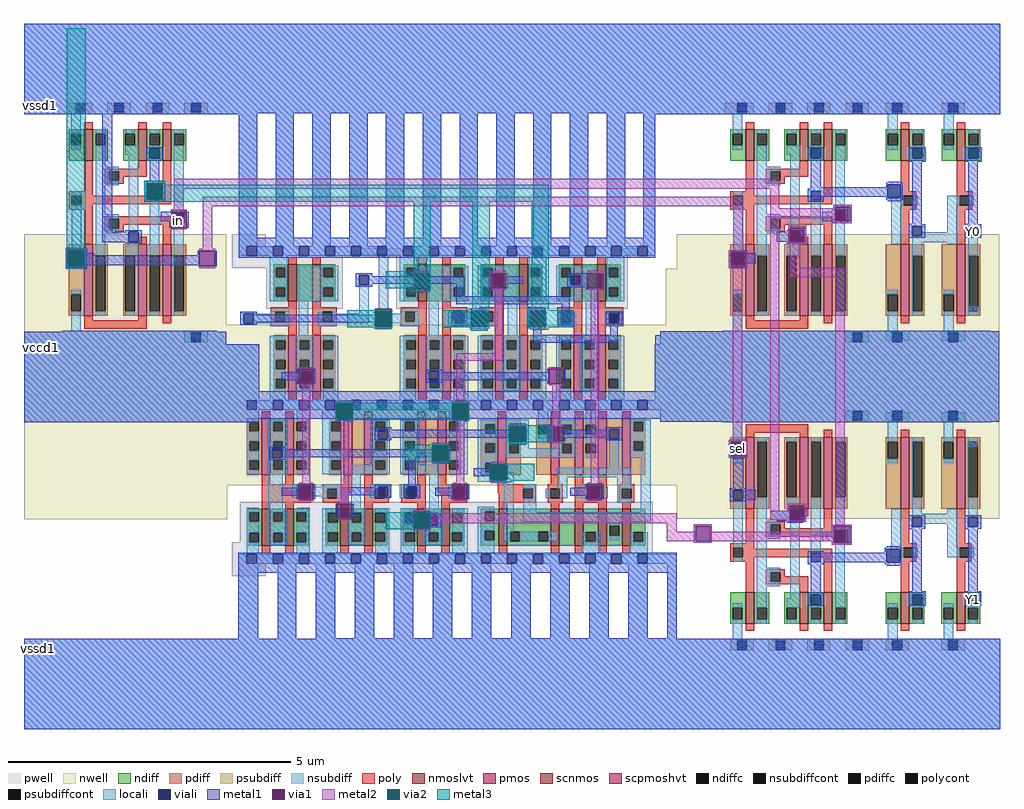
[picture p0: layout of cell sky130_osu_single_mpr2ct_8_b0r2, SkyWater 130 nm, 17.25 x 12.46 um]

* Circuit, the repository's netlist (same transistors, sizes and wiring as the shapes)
* NGSPICE file created from sky130_osu_single_mpr2ct_8_b0r2.ext - technology: sky130A

.subckt sky130_osu_sc_12T_hs__mux2_1 S0 Y A0 A1 vccd1 vssd1 
X0 Y S0 A0 vccd1 sky130_fd_pr__pfet_01v8 ad=0.1764 pd=1.54 as=0.3402 ps=3.06 w=1.26 l=0.15
X1 Y a_110_114# A0 vssd1  sky130_fd_pr__nfet_01v8_lvt ad=0.077 pd=0.83 as=0.1485 ps=1.64 w=0.55 l=0.15
X2 A1 a_110_114# Y vccd1 sky130_fd_pr__pfet_01v8 ad=0.3339 pd=3.05 as=0.1764 ps=1.54 w=1.26 l=0.15
X3 A1 S0 Y vssd1  sky130_fd_pr__nfet_01v8_lvt ad=0.14575 pd=1.63 as=0.077 ps=0.83 w=0.55 l=0.15
X4 a_110_114# S0 vccd1 vccd1 sky130_fd_pr__pfet_01v8 ad=0.3339 pd=3.05 as=0.3402 ps=3.06 w=1.26 l=0.15
X5 a_110_114# S0 vssd1  vssd1  sky130_fd_pr__nfet_01v8_lvt ad=0.14575 pd=1.63 as=0.1485 ps=1.64 w=0.55 l=0.15
.ends

.subckt sky130_osu_sc_12T_hs__inv_1 Y A vccd1 vssd1
X0 Y A vccd1 vccd1 sky130_fd_pr__pfet_01v8 ad=0.3339 pd=3.05 as=0.3402 ps=3.06 w=1.26 l=0.15
X1 Y A vssd1 vssd1 sky130_fd_pr__nfet_01v8_lvt ad=0.14575 pd=1.63 as=0.1485 ps=1.64 w=0.55 l=0.15
.ends

.subckt scs130hd_mpr2ct_8 A1 A0 B0 B1 R0 R1 R2 R3 VNB vgnd VPB vpwr
X0 vpwr B1 a_1131_911# VPB sky130_fd_pr__pfet_01v8_hvt ad=0.26 pd=2.52 as=0.135 ps=1.27 w=1 l=0.15
X1 vgnd a_1131_911# a_1133_47# VNB sky130_fd_pr__nfet_01v8 ad=0.08775 pd=0.92 as=0.08775 ps=0.92 w=0.65 l=0.15
X2 vpwr A1 a_665_591# VPB sky130_fd_pr__pfet_01v8_hvt ad=0.26 pd=2.52 as=0.135 ps=1.27 w=1 l=0.15
X3 vgnd a_665_591# a_915_232# VNB sky130_fd_pr__nfet_01v8 ad=0.169 pd=1.82 as=0.08775 ps=0.92 w=0.65 l=0.15
X4 a_1131_911# A0 vpwr VPB sky130_fd_pr__pfet_01v8_hvt ad=0.135 pd=1.27 as=0.26 ps=2.52 w=1 l=0.15
X5 R3 a_443_21# a_401_297# VPB sky130_fd_pr__pfet_01v8_hvt ad=0.26 pd=2.52 as=0.105 ps=1.21 w=1 l=0.15
X6 a_945_297# a_665_591# vpwr VPB sky130_fd_pr__pfet_01v8_hvt ad=0.135 pd=1.27 as=0.26 ps=2.52 w=1 l=0.15
X7 a_665_591# B0 vpwr VPB sky130_fd_pr__pfet_01v8_hvt ad=0.135 pd=1.27 as=0.26 ps=2.52 w=1 l=0.15
X8 vpwr a_443_21# a_661_297# VPB sky130_fd_pr__pfet_01v8_hvt ad=0.26 pd=2.52 as=0.105 ps=1.21 w=1 l=0.15
X9 R0 a_81_21# vpwr VPB sky130_fd_pr__pfet_01v8_hvt ad=0.135 pd=1.27 as=0.26 ps=2.52 w=1 l=0.15
X10 a_401_297# a_81_21# vpwr VPB sky130_fd_pr__pfet_01v8_hvt ad=0.105 pd=1.21 as=0.26 ps=2.52 w=1 l=0.15
X11 R1 a_915_232# vgnd VNB sky130_fd_pr__nfet_01v8 ad=0.25025 pd=1.42 as=0.208 ps=1.94 w=0.65 l=0.15
X12 vgnd B1 a_937_911# VNB sky130_fd_pr__nfet_01v8 ad=0.169 pd=1.82 as=0.08775 ps=0.92 w=0.65 l=0.15
X13 vgnd B1 a_1213_911# VNB sky130_fd_pr__nfet_01v8 ad=0.169 pd=1.82 as=0.08775 ps=0.92 w=0.65 l=0.15
X14 a_443_21# A1 vpwr VPB sky130_fd_pr__pfet_01v8_hvt ad=0.135 pd=1.27 as=0.26 ps=2.52 w=1 l=0.15
X15 vgnd a_443_21# R3 VNB sky130_fd_pr__nfet_01v8 ad=0.169 pd=1.82 as=0.08775 ps=0.92 w=0.65 l=0.15
X16 a_661_297# R0 R2 VPB sky130_fd_pr__pfet_01v8_hvt ad=0.105 pd=1.21 as=0.26 ps=2.52 w=1 l=0.15
X17 vgnd a_81_21# R0 VNB sky130_fd_pr__nfet_01v8 ad=0.169 pd=1.82 as=0.08775 ps=0.92 w=0.65 l=0.15
X18 a_665_591# A1 a_665_911# VNB sky130_fd_pr__nfet_01v8 ad=0.169 pd=1.82 as=0.08775 ps=0.92 w=0.65 l=0.15
X19 R0 a_81_21# vgnd VNB sky130_fd_pr__nfet_01v8 ad=0.08775 pd=0.92 as=0.169 ps=1.82 w=0.65 l=0.15
X20 a_1213_911# A0 a_1131_911# VNB sky130_fd_pr__nfet_01v8 ad=0.08775 pd=0.92 as=0.169 ps=1.82 w=0.65 l=0.15
X21 a_665_911# B0 vgnd VNB sky130_fd_pr__nfet_01v8 ad=0.08775 pd=0.92 as=0.169 ps=1.82 w=0.65 l=0.15
X22 vpwr A0 a_81_21# VPB sky130_fd_pr__pfet_01v8_hvt ad=0.26 pd=2.52 as=0.135 ps=1.27 w=1 l=0.15
X23 a_915_232# a_665_591# a_1301_297# VPB sky130_fd_pr__pfet_01v8_hvt ad=0.26 pd=2.52 as=0.135 ps=1.27 w=1 l=0.15
X24 R3 a_81_21# vgnd VNB sky130_fd_pr__nfet_01v8 ad=0.08775 pd=0.92 as=0.169 ps=1.82 w=0.65 l=0.15
X25 a_81_21# B0 vpwr VPB sky130_fd_pr__pfet_01v8_hvt ad=0.135 pd=1.27 as=0.26 ps=2.52 w=1 l=0.15
X26 a_1301_297# a_1131_911# vpwr VPB sky130_fd_pr__pfet_01v8_hvt ad=0.135 pd=1.27 as=0.135 ps=1.27 w=1 l=0.15
X27 a_937_911# A1 a_443_21# VNB sky130_fd_pr__nfet_01v8 ad=0.08775 pd=0.92 as=0.169 ps=1.82 w=0.65 l=0.15
X28 a_945_297# a_915_232# R1 VPB sky130_fd_pr__pfet_01v8_hvt ad=0.26 pd=2.52 as=0.3 ps=2.6 w=1 l=0.15
X29 R2 R0 vgnd VNB sky130_fd_pr__nfet_01v8 ad=0.08775 pd=0.92 as=0.169 ps=1.82 w=0.65 l=0.15
X30 a_1133_47# a_665_591# R1 VNB sky130_fd_pr__nfet_01v8 ad=0.08775 pd=0.92 as=0.25025 ps=1.42 w=0.65 l=0.15
X31 vpwr a_1131_911# a_945_297# VPB sky130_fd_pr__pfet_01v8_hvt ad=0.135 pd=1.27 as=0.135 ps=1.27 w=1 l=0.15
X32 a_915_232# a_1131_911# vgnd VNB sky130_fd_pr__nfet_01v8 ad=0.08775 pd=0.92 as=0.08775 ps=0.92 w=0.65 l=0.15
X33 vpwr a_81_21# R0 VPB sky130_fd_pr__pfet_01v8_hvt ad=0.26 pd=2.52 as=0.135 ps=1.27 w=1 l=0.15
X34 a_81_21# A0 a_205_911# VNB sky130_fd_pr__nfet_01v8 ad=0.169 pd=1.82 as=0.08775 ps=0.92 w=0.65 l=0.15
X35 a_205_911# B0 vgnd VNB sky130_fd_pr__nfet_01v8 ad=0.08775 pd=0.92 as=0.169 ps=1.82 w=0.65 l=0.15
X36 vpwr B1 a_443_21# VPB sky130_fd_pr__pfet_01v8_hvt ad=0.26 pd=2.52 as=0.135 ps=1.27 w=1 l=0.15
X37 vgnd a_443_21# R2 VNB sky130_fd_pr__nfet_01v8 ad=0.169 pd=1.82 as=0.08775 ps=0.92 w=0.65 l=0.15
.ends

.subckt sky130_osu_single_mpr2ct_8_b0r2 vssd1 vccd1 sel Y0 Y1 in
Xsky130_osu_sc_12T_hs__mux2_1_0 sel sky130_osu_sc_12T_hs__inv_1_1/A in scs130hd_mpr2ct_8_1/R2
+ vccd1 vssd1 sky130_osu_sc_12T_hs__mux2_1
Xsky130_osu_sc_12T_hs__mux2_1_1 sel scs130hd_mpr2ct_8_1/B1 vssd1 in vccd1 vssd1 sky130_osu_sc_12T_hs__mux2_1
Xsky130_osu_sc_12T_hs__inv_1_1 sky130_osu_sc_12T_hs__inv_1_2/A sky130_osu_sc_12T_hs__inv_1_1/A
+ vccd1 vssd1 sky130_osu_sc_12T_hs__inv_1
Xsky130_osu_sc_12T_hs__inv_1_2 Y1 sky130_osu_sc_12T_hs__inv_1_2/A vccd1 vssd1 sky130_osu_sc_12T_hs__inv_1
Xsky130_osu_sc_12T_hs__mux2_1_2 sel sky130_osu_sc_12T_hs__inv_1_4/A scs130hd_mpr2ct_8_1/R2
+ in vccd1 vssd1 sky130_osu_sc_12T_hs__mux2_1
Xsky130_osu_sc_12T_hs__inv_1_3 Y0 sky130_osu_sc_12T_hs__inv_1_4/Y vccd1 vssd1 sky130_osu_sc_12T_hs__inv_1
Xsky130_osu_sc_12T_hs__inv_1_4 sky130_osu_sc_12T_hs__inv_1_4/Y sky130_osu_sc_12T_hs__inv_1_4/A
+ vccd1 vssd1 sky130_osu_sc_12T_hs__inv_1
Xscs130hd_mpr2ct_8_1 scs130hd_mpr2ct_8_1/B1 scs130hd_mpr2ct_8_1/B1 vssd1 scs130hd_mpr2ct_8_1/B1
+ scs130hd_mpr2ct_8_1/R0 scs130hd_mpr2ct_8_1/R1 scs130hd_mpr2ct_8_1/R2 scs130hd_mpr2ct_8_1/R3
+ vssd1 vssd1 vccd1 vccd1 scs130hd_mpr2ct_8
.ends

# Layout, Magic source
magic
tech sky130A
magscale 1 2
<< nwell >>
rect 0 1428 714 1748
rect 2307 1645 2465 1748
rect 2507 1645 2539 1681
rect 2307 1626 2470 1645
rect 0 1401 728 1428
rect 2268 1406 2470 1626
rect 3401 1406 3446 1748
rect 0 1128 831 1401
rect 2249 1391 3446 1406
rect 2231 1360 3446 1391
rect 2229 1128 3446 1360
rect 0 1084 830 1128
rect 2231 1097 3446 1128
rect 2248 1086 3446 1097
rect 0 862 834 1084
rect 2248 1055 2470 1086
rect 1886 1022 2470 1055
rect 2248 862 2470 1022
rect 0 742 719 862
rect 2307 744 2470 862
rect 3252 772 3282 807
rect 3401 744 3446 1086
<< ndiff >>
rect 3336 441 3371 475
<< psubdiff >>
rect 2477 2206 2499 2213
rect 2477 2173 2507 2206
rect 2633 2173 2708 2206
<< locali >>
rect 1 2176 3449 2492
rect 1 2172 824 2176
rect 759 1706 824 2172
rect 889 1706 954 2176
rect 1019 1706 1084 2176
rect 1149 1706 1214 2176
rect 1195 1702 1214 1706
rect 1279 1702 1344 2176
rect 1409 1702 1474 2176
rect 1539 1702 1604 2176
rect 1669 1702 1734 2176
rect 1799 1702 1864 2176
rect 1929 1706 1994 2176
rect 2059 1706 2124 2176
rect 2189 2172 3449 2176
rect 2189 1706 2231 2172
rect 3171 1721 3279 1756
rect 1929 1702 1934 1706
rect 1195 1695 1934 1702
rect 1254 1465 1288 1680
rect 2505 1645 2541 1693
rect 3171 1690 3174 1721
rect 3338 1461 3372 1495
rect 1 1401 714 1405
rect 1 1360 715 1401
rect 2249 1360 3446 1406
rect 1 1128 831 1360
rect 2229 1128 3446 1360
rect 1 1085 830 1128
rect 2248 1086 3446 1128
rect 3337 997 3371 1031
rect 3173 725 3272 761
rect 758 586 765 618
rect 2229 591 2307 618
rect 933 586 962 590
rect 758 320 827 586
rect 896 320 962 586
rect 1031 321 1100 590
rect 1169 321 1238 590
rect 1307 321 1376 590
rect 1445 321 1514 590
rect 1583 321 1652 590
rect 1721 321 1790 590
rect 1859 321 1928 590
rect 1997 321 2066 590
rect 2135 321 2204 590
rect 2230 584 2307 591
rect 2273 321 2307 584
rect 1031 320 2307 321
rect 1 0 3449 320
<< viali >>
rect 3053 1877 3099 1923
rect 3337 1743 3371 1777
rect 3048 589 3094 635
rect 3337 441 3371 475
<< metal1 >>
rect 1 2176 3449 2492
rect 1 2172 824 2176
rect 277 1755 311 2172
rect 425 1929 499 1938
rect 425 1873 434 1929
rect 490 1873 499 1929
rect 425 1864 499 1873
rect 514 1772 520 1828
rect 576 1772 582 1828
rect 277 1754 344 1755
rect 277 1729 357 1754
rect 277 1720 369 1729
rect 759 1706 824 2172
rect 889 1706 954 2176
rect 1019 1706 1084 2176
rect 1149 1706 1214 2176
rect 1195 1702 1214 1706
rect 1279 1702 1344 2176
rect 1409 1702 1474 2176
rect 1539 1702 1604 2176
rect 1669 1702 1734 2176
rect 1799 1702 1864 2176
rect 1929 1706 1994 2176
rect 2059 1706 2124 2176
rect 2189 2172 3449 2176
rect 2189 1706 2231 2172
rect 3053 1930 3099 1935
rect 3047 1923 3105 1930
rect 3047 1915 3053 1923
rect 2815 1908 3053 1915
rect 2827 1902 3053 1908
rect 2781 1881 3053 1902
rect 2781 1868 2827 1881
rect 3047 1877 3053 1881
rect 3099 1877 3105 1923
rect 3047 1871 3105 1877
rect 3053 1865 3099 1871
rect 2860 1846 2925 1853
rect 2860 1794 2867 1846
rect 2919 1794 2925 1846
rect 2860 1788 2925 1794
rect 2700 1772 2764 1778
rect 2700 1720 2706 1772
rect 2758 1720 2764 1772
rect 2700 1713 2764 1720
rect 1929 1702 1934 1706
rect 151 1692 219 1698
rect 1195 1695 1934 1702
rect 151 1636 157 1692
rect 213 1680 219 1692
rect 213 1675 222 1680
rect 614 1675 620 1691
rect 213 1646 620 1675
rect 213 1636 219 1646
rect 221 1640 620 1646
rect 151 1630 219 1636
rect 614 1635 620 1640
rect 676 1635 682 1691
rect 2491 1686 2556 1693
rect 2491 1634 2498 1686
rect 2550 1634 2556 1686
rect 2491 1628 2556 1634
rect 1 1401 714 1405
rect 1 1360 715 1401
rect 2249 1391 3446 1406
rect 2231 1360 3446 1391
rect 1 1128 831 1360
rect 2229 1128 3446 1360
rect 1 1085 830 1128
rect 2231 1097 3446 1128
rect 2248 1086 3446 1097
rect 2491 1016 2556 1023
rect 2491 964 2498 1016
rect 2550 964 2556 1016
rect 2491 958 2556 964
rect 2507 845 2541 958
rect 2700 790 2764 796
rect 2700 772 2706 790
rect 2637 738 2706 772
rect 2758 738 2764 790
rect 2700 732 2764 738
rect 2366 716 2431 723
rect 2366 664 2373 716
rect 2425 664 2431 716
rect 2366 658 2431 664
rect 2855 716 2925 722
rect 2855 658 2861 716
rect 2919 658 2925 716
rect 2855 652 2925 658
rect 3048 641 3094 647
rect 3042 635 3100 641
rect 3042 624 3048 635
rect 758 586 766 624
rect 2230 618 2307 624
rect 2229 591 2307 618
rect 2230 590 2307 591
rect 2781 623 2815 624
rect 2827 623 3048 624
rect 2781 590 3048 623
rect 933 586 962 590
rect 758 320 827 586
rect 896 320 962 586
rect 1031 321 1100 590
rect 1169 321 1238 590
rect 1307 321 1376 590
rect 1445 321 1514 590
rect 1583 321 1652 590
rect 1721 321 1790 590
rect 1859 321 1928 590
rect 1997 321 2066 590
rect 2135 553 2307 590
rect 3042 589 3048 590
rect 3094 589 3100 635
rect 3042 582 3100 589
rect 3048 577 3094 582
rect 2135 321 2204 553
rect 2273 321 2307 553
rect 1031 320 2307 321
rect 1 0 3449 320
<< via1 >>
rect 434 1873 490 1929
rect 520 1772 576 1828
rect 2867 1794 2919 1846
rect 2706 1720 2758 1772
rect 157 1636 213 1692
rect 620 1635 676 1691
rect 2498 1634 2550 1686
rect 2498 964 2550 1016
rect 2706 738 2758 790
rect 2373 664 2425 716
rect 2861 658 2919 716
<< metal2 >>
rect 425 1929 499 1938
rect 425 1873 434 1929
rect 490 1873 499 1929
rect 425 1864 499 1873
rect 530 1910 2669 1944
rect 530 1834 564 1910
rect 631 1848 2541 1882
rect 520 1828 576 1834
rect 520 1766 576 1772
rect 147 1692 222 1701
rect 631 1697 665 1848
rect 147 1636 157 1692
rect 213 1636 222 1692
rect 147 1627 222 1636
rect 620 1691 676 1697
rect 2507 1693 2541 1848
rect 2637 1840 2669 1910
rect 2860 1846 2925 1853
rect 2860 1840 2867 1846
rect 2637 1806 2867 1840
rect 620 1629 676 1635
rect 2491 1686 2556 1693
rect 2491 1634 2498 1686
rect 2550 1634 2556 1686
rect 2491 1628 2556 1634
rect 2505 1023 2539 1628
rect 2491 1016 2556 1023
rect 2491 964 2498 1016
rect 2550 964 2556 1016
rect 2491 958 2556 964
rect 1663 874 1698 895
rect 2637 772 2669 1806
rect 2860 1794 2867 1806
rect 2919 1794 2925 1846
rect 2860 1788 2925 1794
rect 2700 1772 2764 1778
rect 2700 1720 2706 1772
rect 2758 1720 2764 1772
rect 2700 1713 2764 1720
rect 2706 1666 2740 1713
rect 2706 1631 2741 1666
rect 2706 1596 2901 1631
rect 2700 790 2764 796
rect 2700 772 2706 790
rect 1379 728 2307 763
rect 2637 738 2706 772
rect 2758 738 2764 790
rect 2700 732 2764 738
rect 2272 698 2307 728
rect 2366 716 2431 723
rect 2866 722 2901 1596
rect 2366 698 2373 716
rect 2272 664 2373 698
rect 2425 698 2431 716
rect 2855 716 2925 722
rect 2855 698 2861 716
rect 2425 664 2861 698
rect 2366 658 2431 664
rect 2855 658 2861 664
rect 2919 658 2925 716
rect 2855 652 2925 658
<< via2 >>
rect 434 1873 490 1929
rect 157 1636 213 1692
<< metal3 >>
rect 151 1701 218 2477
rect 425 1929 499 1938
rect 425 1873 434 1929
rect 490 1924 499 1929
rect 490 1873 1855 1924
rect 425 1864 1855 1873
rect 147 1692 222 1701
rect 147 1636 157 1692
rect 213 1636 222 1692
rect 147 1627 222 1636
rect 1378 1557 1438 1864
rect 1584 1620 1645 1864
rect 1584 1486 1644 1620
rect 1795 1493 1855 1864
rect 1576 1416 1644 1486
rect 1780 1420 1855 1493
use scs130hd_mpr2ct_8  scs130hd_mpr2ct_8_1
transform 1 0 759 0 1 601
box -43 -60 1510 1148
use sky130_osu_sc_12T_hs__inv_1  sky130_osu_sc_12T_hs__inv_1_1
transform 1 0 3019 0 1 259
box -10 0 199 902
use sky130_osu_sc_12T_hs__inv_1  sky130_osu_sc_12T_hs__inv_1_2
transform 1 0 3216 0 1 259
box -10 0 199 902
use sky130_osu_sc_12T_hs__inv_1  sky130_osu_sc_12T_hs__inv_1_3
transform 1 0 3217 0 -1 2233
box -10 0 199 902
use sky130_osu_sc_12T_hs__inv_1  sky130_osu_sc_12T_hs__inv_1_4
transform 1 0 3019 0 -1 2233
box -10 0 199 902
use sky130_osu_sc_12T_hs__mux2_1  sky130_osu_sc_12T_hs__mux2_1_0
transform 1 0 2470 0 1 259
box -10 0 552 902
use sky130_osu_sc_12T_hs__mux2_1  sky130_osu_sc_12T_hs__mux2_1_1
transform 1 0 133 0 -1 2233
box -10 0 552 902
use sky130_osu_sc_12T_hs__mux2_1  sky130_osu_sc_12T_hs__mux2_1_2
transform 1 0 2470 0 -1 2233
box -10 0 552 902
<< labels >>
rlabel metal2 2523 992 2523 992 1 sel
port 8 n
rlabel metal1 53 285 53 285 1 vssd1
port 5 n
rlabel metal1 62 1347 62 1347 1 vccd1
port 6 n
rlabel metal2 547 1796 547 1796 1 in
port 11 n
rlabel metal1 57 2203 57 2203 1 vssd1
port 5 n
rlabel viali 3337 441 3371 475 1 Y1
port 10 n
rlabel viali 3337 1743 3371 1777 1 Y0
port 9 n
<< end >>

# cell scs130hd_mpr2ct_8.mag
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
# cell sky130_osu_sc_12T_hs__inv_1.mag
magic
tech sky130A
magscale 1 2
<< nwell >>
rect -10 484 199 902
<< pmos >>
rect 80 520 110 772
<< nmoslvt >>
rect 80 114 110 224
<< ndiff >>
rect 26 170 80 224
rect 26 130 34 170
rect 68 130 80 170
rect 26 114 80 130
rect 110 170 163 224
rect 110 130 121 170
rect 155 130 163 170
rect 110 114 163 130
<< pdiff >>
rect 26 756 80 772
rect 26 696 34 756
rect 68 696 80 756
rect 26 520 80 696
rect 110 756 163 772
rect 110 560 121 756
rect 155 560 163 756
rect 110 520 163 560
<< ndiffc >>
rect 34 130 68 170
rect 121 130 155 170
<< pdiffc >>
rect 34 696 68 756
rect 121 560 155 756
<< psubdiff >>
rect 26 26 50 60
rect 84 26 108 60
rect 26 20 108 26
<< nsubdiff >>
rect 26 826 50 860
rect 84 826 110 860
<< psubdiffcont >>
rect 50 26 84 60
<< nsubdiffcont >>
rect 50 826 84 860
<< poly >>
rect 80 772 110 798
rect 80 398 110 520
rect 80 382 134 398
rect 80 348 90 382
rect 124 348 134 382
rect 80 332 134 348
rect 80 224 110 332
rect 80 88 110 114
<< polycont >>
rect 90 348 124 382
<< locali >>
rect 0 866 198 888
rect 0 826 50 866
rect 84 826 198 866
rect 34 756 68 826
rect 34 680 68 696
rect 120 756 155 772
rect 120 560 121 756
rect 120 543 155 560
rect 46 382 80 520
rect 120 490 154 543
rect 46 348 90 382
rect 124 348 140 382
rect 34 170 68 186
rect 34 60 68 130
rect 121 170 155 182
rect 121 114 155 130
rect 0 20 50 60
rect 84 20 198 60
rect 0 0 198 20
<< viali >>
rect 50 860 84 866
rect 50 832 84 860
rect 120 456 154 490
rect 121 182 155 216
rect 50 26 84 54
rect 50 20 84 26
<< metal1 >>
rect 0 866 198 888
rect 0 832 50 866
rect 84 832 198 866
rect 0 826 198 832
rect 108 490 166 496
rect 108 456 120 490
rect 154 456 166 490
rect 108 449 166 456
rect 108 448 154 449
rect 120 228 154 448
rect 108 216 167 228
rect 108 182 121 216
rect 155 182 167 216
rect 108 176 167 182
rect 0 54 198 60
rect 0 20 50 54
rect 84 20 198 54
rect 0 0 198 20
<< labels >>
rlabel metal1 150 344 150 344 1 Y
port 1 n
rlabel viali 68 48 68 48 1 vssd1
port 4 n
rlabel viali 68 840 68 840 1 vccd1
port 3 n
rlabel locali 64 370 64 370 1 A
port 2 n
<< end >>

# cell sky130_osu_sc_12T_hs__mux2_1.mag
magic
tech sky130A
magscale 1 2
<< nwell >>
rect -10 484 552 902
<< pmos >>
rect 80 520 110 772
rect 271 520 301 772
rect 357 520 387 772
<< nmoslvt >>
rect 80 114 110 224
rect 271 114 301 224
rect 357 114 387 224
<< ndiff >>
rect 26 170 80 224
rect 26 130 34 170
rect 68 130 80 170
rect 26 114 80 130
rect 110 170 163 224
rect 110 130 121 170
rect 155 130 163 170
rect 110 114 163 130
rect 217 170 271 224
rect 217 130 225 170
rect 259 130 271 170
rect 217 114 271 130
rect 301 170 357 224
rect 301 130 312 170
rect 346 130 357 170
rect 301 114 357 130
rect 387 170 440 224
rect 387 130 398 170
rect 432 130 440 170
rect 387 114 440 130
<< pdiff >>
rect 26 756 80 772
rect 26 696 34 756
rect 68 696 80 756
rect 26 520 80 696
rect 110 756 163 772
rect 110 560 121 756
rect 155 560 163 756
rect 110 520 163 560
rect 217 756 271 772
rect 217 560 225 756
rect 259 560 271 756
rect 217 520 271 560
rect 301 756 357 772
rect 301 560 312 756
rect 346 560 357 756
rect 301 520 357 560
rect 387 756 440 772
rect 387 560 398 756
rect 432 560 440 756
rect 387 520 440 560
<< ndiffc >>
rect 34 130 68 170
rect 121 130 155 170
rect 225 130 259 170
rect 312 130 346 170
rect 398 130 432 170
<< pdiffc >>
rect 34 696 68 756
rect 121 560 155 756
rect 225 560 259 756
rect 312 560 346 756
rect 398 560 432 756
<< psubdiff >>
rect 26 26 50 60
rect 84 26 108 60
rect 26 20 108 26
rect 162 26 186 60
rect 220 26 244 60
rect 162 20 244 26
rect 298 26 322 60
rect 356 26 380 60
rect 298 20 380 26
rect 434 26 458 60
rect 492 26 516 60
rect 434 20 516 26
<< nsubdiff >>
rect 434 860 516 866
rect 434 826 458 860
rect 492 826 516 860
<< psubdiffcont >>
rect 50 26 84 60
rect 186 26 220 60
rect 322 26 356 60
rect 458 26 492 60
<< nsubdiffcont >>
rect 458 826 492 860
<< poly >>
rect 80 788 301 818
rect 80 772 110 788
rect 271 772 301 788
rect 357 772 387 798
rect 80 398 110 520
rect 271 494 301 520
rect 152 464 219 474
rect 152 430 168 464
rect 202 450 219 464
rect 357 450 387 520
rect 202 430 387 450
rect 152 420 387 430
rect 26 382 110 398
rect 26 348 36 382
rect 70 378 110 382
rect 70 348 387 378
rect 26 332 110 348
rect 80 224 110 332
rect 152 296 219 306
rect 152 262 168 296
rect 202 282 219 296
rect 202 262 301 282
rect 152 252 301 262
rect 271 224 301 252
rect 357 224 387 348
rect 80 88 110 114
rect 271 88 301 114
rect 357 88 387 114
<< polycont >>
rect 168 430 202 464
rect 36 348 70 382
rect 168 262 202 296
<< locali >>
rect 0 866 550 888
rect 0 826 458 866
rect 492 826 550 866
rect 34 756 68 826
rect 34 680 68 696
rect 120 756 155 772
rect 36 382 70 552
rect 36 332 70 348
rect 120 560 121 756
rect 120 520 155 560
rect 225 756 259 772
rect 311 756 346 772
rect 311 560 312 756
rect 225 526 271 560
rect 120 480 154 520
rect 237 510 271 526
rect 120 464 202 480
rect 120 430 168 464
rect 120 414 202 430
rect 120 312 154 414
rect 120 296 202 312
rect 120 262 168 296
rect 120 246 202 262
rect 120 212 154 246
rect 34 170 68 186
rect 34 60 68 130
rect 120 170 155 212
rect 237 204 271 476
rect 311 520 346 560
rect 397 756 432 772
rect 397 560 398 756
rect 397 544 432 560
rect 311 364 345 520
rect 397 438 431 544
rect 397 224 431 404
rect 120 130 121 170
rect 120 114 155 130
rect 225 170 271 204
rect 345 182 346 216
rect 311 170 346 182
rect 225 114 259 130
rect 311 130 312 170
rect 311 114 346 130
rect 397 170 432 224
rect 397 130 398 170
rect 397 114 432 130
rect 0 20 50 60
rect 84 20 186 60
rect 220 20 322 60
rect 356 20 458 60
rect 492 20 550 60
rect 0 0 550 20
<< viali >>
rect 458 860 492 866
rect 458 832 492 860
rect 36 552 70 586
rect 237 476 271 510
rect 311 330 345 364
rect 397 404 431 438
rect 311 182 345 216
rect 50 26 84 54
rect 50 20 84 26
rect 186 26 220 54
rect 186 20 220 26
rect 322 26 356 54
rect 322 20 356 26
rect 458 26 492 54
rect 458 20 492 26
<< metal1 >>
rect 0 866 550 888
rect 0 832 458 866
rect 492 832 550 866
rect 0 826 550 832
rect 24 586 82 592
rect 24 552 36 586
rect 70 552 116 586
rect 24 546 82 552
rect 225 510 283 516
rect 190 476 237 510
rect 271 476 283 510
rect 225 470 283 476
rect 385 438 443 444
rect 351 404 397 438
rect 431 404 443 438
rect 385 398 443 404
rect 299 364 357 370
rect 299 330 311 364
rect 345 330 357 364
rect 299 324 357 330
rect 311 222 345 324
rect 299 216 357 222
rect 299 182 311 216
rect 345 182 357 216
rect 299 176 357 182
rect 0 54 550 60
rect 0 20 50 54
rect 84 20 186 54
rect 220 20 322 54
rect 356 20 458 54
rect 492 20 550 54
rect 0 0 550 20
<< labels >>
rlabel viali 54 570 54 570 1 S0
port 1 n
rlabel viali 68 48 68 48 1 vssd1
port 6 n
rlabel viali 476 840 476 840 1 vccd1
port 5 n
rlabel viali 329 348 329 348 1 Y
port 2 n
rlabel viali 415 422 415 422 1 A1
port 4 n
rlabel viali 253 494 253 494 1 A0
port 3 n
<< end >>
